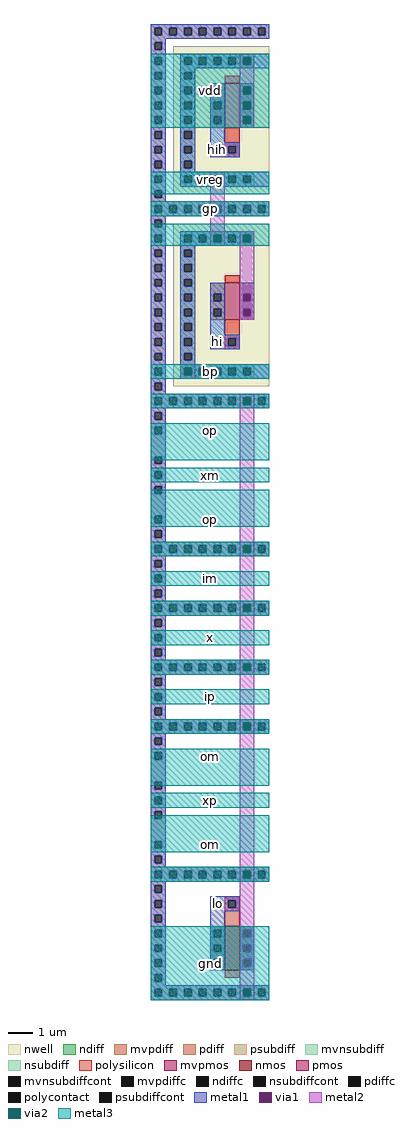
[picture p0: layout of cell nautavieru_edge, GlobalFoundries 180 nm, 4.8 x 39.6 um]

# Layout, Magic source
magic
tech gf180mcuC
<< nwell >>
rect -738 522 -660 642
rect -738 366 -660 498
<< nmos >>
rect -696 -108 -684 -72
<< pmos >>
rect -696 420 -684 450
<< mvpmos >>
rect -696 576 -684 612
<< ndiff >>
rect -708 -75 -696 -72
rect -708 -81 -705 -75
rect -699 -81 -696 -75
rect -708 -87 -696 -81
rect -708 -93 -705 -87
rect -699 -93 -696 -87
rect -708 -99 -696 -93
rect -708 -105 -705 -99
rect -699 -105 -696 -99
rect -708 -108 -696 -105
rect -684 -75 -672 -72
rect -684 -81 -681 -75
rect -675 -81 -672 -75
rect -684 -87 -672 -81
rect -684 -93 -681 -87
rect -675 -93 -672 -87
rect -684 -99 -672 -93
rect -684 -105 -681 -99
rect -675 -105 -672 -99
rect -684 -108 -672 -105
<< pdiff >>
rect -708 441 -696 450
rect -708 435 -705 441
rect -699 435 -696 441
rect -708 429 -696 435
rect -708 423 -705 429
rect -699 423 -696 429
rect -708 420 -696 423
rect -684 441 -672 450
rect -684 435 -681 441
rect -675 435 -672 441
rect -684 429 -672 435
rect -684 423 -681 429
rect -675 423 -672 429
rect -684 420 -672 423
<< mvpdiff >>
rect -708 609 -696 612
rect -708 603 -705 609
rect -699 603 -696 609
rect -708 597 -696 603
rect -708 591 -705 597
rect -699 591 -696 597
rect -708 585 -696 591
rect -708 579 -705 585
rect -699 579 -696 585
rect -708 576 -696 579
rect -684 609 -672 612
rect -684 603 -681 609
rect -675 603 -672 609
rect -684 597 -672 603
rect -684 591 -681 597
rect -675 591 -672 597
rect -684 585 -672 591
rect -684 579 -681 585
rect -675 579 -672 585
rect -684 576 -672 579
<< ndiffc >>
rect -705 -81 -699 -75
rect -705 -93 -699 -87
rect -705 -105 -699 -99
rect -681 -81 -675 -75
rect -681 -93 -675 -87
rect -681 -105 -675 -99
<< pdiffc >>
rect -705 435 -699 441
rect -705 423 -699 429
rect -681 435 -675 441
rect -681 423 -675 429
<< mvpdiffc >>
rect -705 603 -699 609
rect -705 591 -699 597
rect -705 579 -699 585
rect -681 603 -675 609
rect -681 591 -675 597
rect -681 579 -675 585
<< psubdiff >>
rect -756 657 -660 660
rect -756 651 -753 657
rect -747 651 -741 657
rect -735 651 -729 657
rect -723 651 -717 657
rect -711 651 -705 657
rect -699 651 -693 657
rect -687 651 -681 657
rect -675 651 -669 657
rect -663 651 -660 657
rect -756 648 -660 651
rect -756 645 -744 648
rect -756 639 -753 645
rect -747 639 -744 645
rect -756 633 -744 639
rect -756 627 -753 633
rect -747 627 -744 633
rect -756 621 -744 627
rect -756 615 -753 621
rect -747 615 -744 621
rect -756 609 -744 615
rect -756 603 -753 609
rect -747 603 -744 609
rect -756 597 -744 603
rect -756 591 -753 597
rect -747 591 -744 597
rect -756 585 -744 591
rect -756 579 -753 585
rect -747 579 -744 585
rect -756 573 -744 579
rect -756 567 -753 573
rect -747 567 -744 573
rect -756 561 -744 567
rect -756 555 -753 561
rect -747 555 -744 561
rect -756 549 -744 555
rect -756 543 -753 549
rect -747 543 -744 549
rect -756 537 -744 543
rect -756 531 -753 537
rect -747 531 -744 537
rect -756 525 -744 531
rect -756 519 -753 525
rect -747 519 -744 525
rect -756 516 -744 519
rect -756 513 -660 516
rect -756 507 -753 513
rect -747 507 -741 513
rect -735 507 -729 513
rect -723 507 -717 513
rect -711 507 -705 513
rect -699 507 -693 513
rect -687 507 -681 513
rect -675 507 -669 513
rect -663 507 -660 513
rect -756 504 -660 507
rect -756 501 -744 504
rect -756 495 -753 501
rect -747 495 -744 501
rect -756 489 -744 495
rect -756 483 -753 489
rect -747 483 -744 489
rect -756 477 -744 483
rect -756 471 -753 477
rect -747 471 -744 477
rect -756 465 -744 471
rect -756 459 -753 465
rect -747 459 -744 465
rect -756 453 -744 459
rect -756 447 -753 453
rect -747 447 -744 453
rect -756 441 -744 447
rect -756 435 -753 441
rect -747 435 -744 441
rect -756 429 -744 435
rect -756 423 -753 429
rect -747 423 -744 429
rect -756 417 -744 423
rect -756 411 -753 417
rect -747 411 -744 417
rect -756 405 -744 411
rect -756 399 -753 405
rect -747 399 -744 405
rect -756 393 -744 399
rect -756 387 -753 393
rect -747 387 -744 393
rect -756 381 -744 387
rect -756 375 -753 381
rect -747 375 -744 381
rect -756 369 -744 375
rect -756 363 -753 369
rect -747 363 -744 369
rect -756 360 -744 363
rect -756 357 -660 360
rect -756 351 -753 357
rect -747 351 -741 357
rect -735 351 -729 357
rect -723 351 -717 357
rect -711 351 -705 357
rect -699 351 -693 357
rect -687 351 -681 357
rect -675 351 -669 357
rect -663 351 -660 357
rect -756 348 -660 351
rect -756 345 -744 348
rect -756 339 -753 345
rect -747 339 -744 345
rect -756 333 -744 339
rect -756 327 -753 333
rect -747 327 -744 333
rect -756 309 -744 327
rect -756 303 -753 309
rect -747 303 -744 309
rect -756 297 -744 303
rect -756 291 -753 297
rect -747 291 -744 297
rect -756 285 -744 291
rect -756 279 -753 285
rect -747 279 -744 285
rect -756 261 -744 279
rect -756 255 -753 261
rect -747 255 -744 261
rect -756 249 -744 255
rect -756 243 -753 249
rect -747 243 -744 249
rect -756 240 -744 243
rect -756 237 -660 240
rect -756 231 -753 237
rect -747 231 -741 237
rect -735 231 -729 237
rect -723 231 -717 237
rect -711 231 -705 237
rect -699 231 -693 237
rect -687 231 -681 237
rect -675 231 -669 237
rect -663 231 -660 237
rect -756 228 -660 231
rect -756 225 -744 228
rect -756 219 -753 225
rect -747 219 -744 225
rect -756 213 -744 219
rect -756 207 -753 213
rect -747 207 -744 213
rect -756 201 -744 207
rect -756 195 -753 201
rect -747 195 -744 201
rect -756 192 -744 195
rect -756 189 -660 192
rect -756 183 -753 189
rect -747 183 -741 189
rect -735 183 -729 189
rect -723 183 -717 189
rect -711 183 -705 189
rect -699 183 -693 189
rect -687 183 -681 189
rect -675 183 -669 189
rect -663 183 -660 189
rect -756 180 -660 183
rect -756 177 -744 180
rect -756 171 -753 177
rect -747 171 -744 177
rect -756 165 -744 171
rect -756 159 -753 165
rect -747 159 -744 165
rect -756 153 -744 159
rect -756 147 -753 153
rect -747 147 -744 153
rect -756 144 -744 147
rect -756 141 -660 144
rect -756 135 -753 141
rect -747 135 -741 141
rect -735 135 -729 141
rect -723 135 -717 141
rect -711 135 -705 141
rect -699 135 -693 141
rect -687 135 -681 141
rect -675 135 -669 141
rect -663 135 -660 141
rect -756 132 -660 135
rect -756 129 -744 132
rect -756 123 -753 129
rect -747 123 -744 129
rect -756 117 -744 123
rect -756 111 -753 117
rect -747 111 -744 117
rect -756 105 -744 111
rect -756 99 -753 105
rect -747 99 -744 105
rect -756 96 -744 99
rect -756 93 -660 96
rect -756 87 -753 93
rect -747 87 -741 93
rect -735 87 -729 93
rect -723 87 -717 93
rect -711 87 -705 93
rect -699 87 -693 93
rect -687 87 -681 93
rect -675 87 -669 93
rect -663 87 -660 93
rect -756 84 -660 87
rect -756 81 -744 84
rect -756 75 -753 81
rect -747 75 -744 81
rect -756 69 -744 75
rect -756 63 -753 69
rect -747 63 -744 69
rect -756 45 -744 63
rect -756 39 -753 45
rect -747 39 -744 45
rect -756 33 -744 39
rect -756 27 -753 33
rect -747 27 -744 33
rect -756 21 -744 27
rect -756 15 -753 21
rect -747 15 -744 21
rect -756 -3 -744 15
rect -756 -9 -753 -3
rect -747 -9 -744 -3
rect -756 -15 -744 -9
rect -756 -21 -753 -15
rect -747 -21 -744 -15
rect -756 -24 -744 -21
rect -756 -27 -660 -24
rect -756 -33 -753 -27
rect -747 -33 -741 -27
rect -735 -33 -729 -27
rect -723 -33 -717 -27
rect -711 -33 -705 -27
rect -699 -33 -693 -27
rect -687 -33 -681 -27
rect -675 -33 -669 -27
rect -663 -33 -660 -27
rect -756 -36 -660 -33
rect -756 -39 -744 -36
rect -756 -45 -753 -39
rect -747 -45 -744 -39
rect -756 -51 -744 -45
rect -756 -57 -753 -51
rect -747 -57 -744 -51
rect -756 -63 -744 -57
rect -756 -69 -753 -63
rect -747 -69 -744 -63
rect -756 -75 -744 -69
rect -756 -81 -753 -75
rect -747 -81 -744 -75
rect -756 -87 -744 -81
rect -756 -93 -753 -87
rect -747 -93 -744 -87
rect -756 -99 -744 -93
rect -756 -105 -753 -99
rect -747 -105 -744 -99
rect -756 -111 -744 -105
rect -756 -117 -753 -111
rect -747 -117 -744 -111
rect -756 -120 -744 -117
rect -756 -123 -660 -120
rect -756 -129 -753 -123
rect -747 -129 -741 -123
rect -735 -129 -729 -123
rect -723 -129 -717 -123
rect -711 -129 -705 -123
rect -699 -129 -693 -123
rect -687 -129 -681 -123
rect -675 -129 -669 -123
rect -663 -129 -660 -123
rect -756 -132 -660 -129
<< nsubdiff >>
rect -732 489 -672 492
rect -732 483 -729 489
rect -723 483 -717 489
rect -711 483 -705 489
rect -699 483 -693 489
rect -687 483 -681 489
rect -675 483 -672 489
rect -732 480 -672 483
rect -732 477 -720 480
rect -732 471 -729 477
rect -723 471 -720 477
rect -732 465 -720 471
rect -732 459 -729 465
rect -723 459 -720 465
rect -732 453 -720 459
rect -732 447 -729 453
rect -723 447 -720 453
rect -732 441 -720 447
rect -732 435 -729 441
rect -723 435 -720 441
rect -732 429 -720 435
rect -732 423 -729 429
rect -723 423 -720 429
rect -732 417 -720 423
rect -732 411 -729 417
rect -723 411 -720 417
rect -732 405 -720 411
rect -732 399 -729 405
rect -723 399 -720 405
rect -732 393 -720 399
rect -732 387 -729 393
rect -723 387 -720 393
rect -732 384 -720 387
rect -732 381 -672 384
rect -732 375 -729 381
rect -723 375 -717 381
rect -711 375 -705 381
rect -699 375 -693 381
rect -687 375 -681 381
rect -675 375 -672 381
rect -732 372 -672 375
<< mvnsubdiff >>
rect -732 633 -672 636
rect -732 627 -729 633
rect -723 627 -717 633
rect -711 627 -705 633
rect -699 627 -693 633
rect -687 627 -681 633
rect -675 627 -672 633
rect -732 624 -672 627
rect -732 621 -720 624
rect -732 615 -729 621
rect -723 615 -720 621
rect -732 609 -720 615
rect -732 603 -729 609
rect -723 603 -720 609
rect -732 597 -720 603
rect -732 591 -729 597
rect -723 591 -720 597
rect -732 585 -720 591
rect -732 579 -729 585
rect -723 579 -720 585
rect -732 573 -720 579
rect -732 567 -729 573
rect -723 567 -720 573
rect -732 561 -720 567
rect -732 555 -729 561
rect -723 555 -720 561
rect -732 549 -720 555
rect -732 543 -729 549
rect -723 543 -720 549
rect -732 540 -720 543
rect -732 537 -672 540
rect -732 531 -729 537
rect -723 531 -717 537
rect -711 531 -705 537
rect -699 531 -693 537
rect -687 531 -681 537
rect -675 531 -672 537
rect -732 528 -672 531
<< psubdiffcont >>
rect -753 651 -747 657
rect -741 651 -735 657
rect -729 651 -723 657
rect -717 651 -711 657
rect -705 651 -699 657
rect -693 651 -687 657
rect -681 651 -675 657
rect -669 651 -663 657
rect -753 639 -747 645
rect -753 627 -747 633
rect -753 615 -747 621
rect -753 603 -747 609
rect -753 591 -747 597
rect -753 579 -747 585
rect -753 567 -747 573
rect -753 555 -747 561
rect -753 543 -747 549
rect -753 531 -747 537
rect -753 519 -747 525
rect -753 507 -747 513
rect -741 507 -735 513
rect -729 507 -723 513
rect -717 507 -711 513
rect -705 507 -699 513
rect -693 507 -687 513
rect -681 507 -675 513
rect -669 507 -663 513
rect -753 495 -747 501
rect -753 483 -747 489
rect -753 471 -747 477
rect -753 459 -747 465
rect -753 447 -747 453
rect -753 435 -747 441
rect -753 423 -747 429
rect -753 411 -747 417
rect -753 399 -747 405
rect -753 387 -747 393
rect -753 375 -747 381
rect -753 363 -747 369
rect -753 351 -747 357
rect -741 351 -735 357
rect -729 351 -723 357
rect -717 351 -711 357
rect -705 351 -699 357
rect -693 351 -687 357
rect -681 351 -675 357
rect -669 351 -663 357
rect -753 339 -747 345
rect -753 327 -747 333
rect -753 303 -747 309
rect -753 291 -747 297
rect -753 279 -747 285
rect -753 255 -747 261
rect -753 243 -747 249
rect -753 231 -747 237
rect -741 231 -735 237
rect -729 231 -723 237
rect -717 231 -711 237
rect -705 231 -699 237
rect -693 231 -687 237
rect -681 231 -675 237
rect -669 231 -663 237
rect -753 219 -747 225
rect -753 207 -747 213
rect -753 195 -747 201
rect -753 183 -747 189
rect -741 183 -735 189
rect -729 183 -723 189
rect -717 183 -711 189
rect -705 183 -699 189
rect -693 183 -687 189
rect -681 183 -675 189
rect -669 183 -663 189
rect -753 171 -747 177
rect -753 159 -747 165
rect -753 147 -747 153
rect -753 135 -747 141
rect -741 135 -735 141
rect -729 135 -723 141
rect -717 135 -711 141
rect -705 135 -699 141
rect -693 135 -687 141
rect -681 135 -675 141
rect -669 135 -663 141
rect -753 123 -747 129
rect -753 111 -747 117
rect -753 99 -747 105
rect -753 87 -747 93
rect -741 87 -735 93
rect -729 87 -723 93
rect -717 87 -711 93
rect -705 87 -699 93
rect -693 87 -687 93
rect -681 87 -675 93
rect -669 87 -663 93
rect -753 75 -747 81
rect -753 63 -747 69
rect -753 39 -747 45
rect -753 27 -747 33
rect -753 15 -747 21
rect -753 -9 -747 -3
rect -753 -21 -747 -15
rect -753 -33 -747 -27
rect -741 -33 -735 -27
rect -729 -33 -723 -27
rect -717 -33 -711 -27
rect -705 -33 -699 -27
rect -693 -33 -687 -27
rect -681 -33 -675 -27
rect -669 -33 -663 -27
rect -753 -45 -747 -39
rect -753 -57 -747 -51
rect -753 -69 -747 -63
rect -753 -81 -747 -75
rect -753 -93 -747 -87
rect -753 -105 -747 -99
rect -753 -117 -747 -111
rect -753 -129 -747 -123
rect -741 -129 -735 -123
rect -729 -129 -723 -123
rect -717 -129 -711 -123
rect -705 -129 -699 -123
rect -693 -129 -687 -123
rect -681 -129 -675 -123
rect -669 -129 -663 -123
<< nsubdiffcont >>
rect -729 483 -723 489
rect -717 483 -711 489
rect -705 483 -699 489
rect -693 483 -687 489
rect -681 483 -675 489
rect -729 471 -723 477
rect -729 459 -723 465
rect -729 447 -723 453
rect -729 435 -723 441
rect -729 423 -723 429
rect -729 411 -723 417
rect -729 399 -723 405
rect -729 387 -723 393
rect -729 375 -723 381
rect -717 375 -711 381
rect -705 375 -699 381
rect -693 375 -687 381
rect -681 375 -675 381
<< mvnsubdiffcont >>
rect -729 627 -723 633
rect -717 627 -711 633
rect -705 627 -699 633
rect -693 627 -687 633
rect -681 627 -675 633
rect -729 615 -723 621
rect -729 603 -723 609
rect -729 591 -723 597
rect -729 579 -723 585
rect -729 567 -723 573
rect -729 555 -723 561
rect -729 543 -723 549
rect -729 531 -723 537
rect -717 531 -711 537
rect -705 531 -699 537
rect -693 531 -687 537
rect -681 531 -675 537
<< polysilicon >>
rect -696 612 -684 618
rect -696 561 -684 576
rect -696 555 -693 561
rect -687 555 -684 561
rect -696 552 -684 555
rect -696 450 -684 456
rect -696 405 -684 420
rect -696 399 -693 405
rect -687 399 -684 405
rect -696 396 -684 399
rect -696 -51 -684 -48
rect -696 -57 -693 -51
rect -687 -57 -684 -51
rect -696 -72 -684 -57
rect -696 -114 -684 -108
<< polycontact >>
rect -693 555 -687 561
rect -693 399 -687 405
rect -693 -57 -687 -51
<< metal1 >>
rect -756 657 -660 660
rect -756 651 -753 657
rect -747 651 -741 657
rect -735 651 -729 657
rect -723 651 -717 657
rect -711 651 -705 657
rect -699 651 -693 657
rect -687 651 -681 657
rect -675 651 -669 657
rect -663 651 -660 657
rect -756 648 -660 651
rect -756 645 -744 648
rect -756 639 -753 645
rect -747 639 -744 645
rect -756 633 -744 639
rect -756 627 -753 633
rect -747 627 -744 633
rect -756 621 -744 627
rect -756 615 -753 621
rect -747 615 -744 621
rect -756 609 -744 615
rect -756 603 -753 609
rect -747 603 -744 609
rect -756 597 -744 603
rect -756 591 -753 597
rect -747 591 -744 597
rect -756 585 -744 591
rect -756 579 -753 585
rect -747 579 -744 585
rect -756 573 -744 579
rect -756 567 -753 573
rect -747 567 -744 573
rect -756 561 -744 567
rect -756 555 -753 561
rect -747 555 -744 561
rect -756 549 -744 555
rect -756 543 -753 549
rect -747 543 -744 549
rect -756 537 -744 543
rect -756 531 -753 537
rect -747 531 -744 537
rect -756 525 -744 531
rect -732 633 -660 636
rect -732 627 -729 633
rect -723 627 -717 633
rect -711 627 -705 633
rect -699 627 -693 633
rect -687 627 -681 633
rect -675 627 -660 633
rect -732 624 -660 627
rect -732 621 -720 624
rect -732 615 -729 621
rect -723 615 -720 621
rect -732 609 -720 615
rect -732 603 -729 609
rect -723 603 -720 609
rect -732 597 -720 603
rect -732 591 -729 597
rect -723 591 -720 597
rect -732 585 -720 591
rect -732 579 -729 585
rect -723 579 -720 585
rect -732 573 -720 579
rect -732 567 -729 573
rect -723 567 -720 573
rect -732 561 -720 567
rect -732 555 -729 561
rect -723 555 -720 561
rect -732 549 -720 555
rect -708 609 -696 612
rect -708 603 -705 609
rect -699 603 -696 609
rect -708 597 -696 603
rect -708 591 -705 597
rect -699 591 -696 597
rect -708 585 -696 591
rect -708 579 -705 585
rect -699 579 -696 585
rect -708 564 -696 579
rect -684 609 -672 612
rect -684 603 -681 609
rect -675 603 -672 609
rect -684 597 -672 603
rect -684 591 -681 597
rect -675 591 -672 597
rect -684 585 -672 591
rect -684 579 -681 585
rect -675 579 -672 585
rect -684 576 -672 579
rect -708 561 -684 564
rect -708 555 -693 561
rect -687 555 -684 561
rect -708 552 -684 555
rect -732 543 -729 549
rect -723 543 -720 549
rect -732 540 -720 543
rect -732 537 -660 540
rect -732 531 -729 537
rect -723 531 -717 537
rect -711 531 -705 537
rect -699 531 -693 537
rect -687 531 -681 537
rect -675 531 -660 537
rect -732 528 -660 531
rect -756 519 -753 525
rect -747 519 -744 525
rect -756 516 -744 519
rect -756 513 -660 516
rect -756 507 -753 513
rect -747 507 -741 513
rect -735 507 -729 513
rect -723 507 -717 513
rect -711 507 -705 513
rect -699 507 -693 513
rect -687 507 -681 513
rect -675 507 -669 513
rect -663 507 -660 513
rect -756 504 -660 507
rect -756 501 -744 504
rect -756 495 -753 501
rect -747 495 -744 501
rect -756 489 -744 495
rect -756 483 -753 489
rect -747 483 -744 489
rect -756 477 -744 483
rect -756 471 -753 477
rect -747 471 -744 477
rect -756 465 -744 471
rect -756 459 -753 465
rect -747 459 -744 465
rect -756 453 -744 459
rect -756 447 -753 453
rect -747 447 -744 453
rect -756 441 -744 447
rect -756 435 -753 441
rect -747 435 -744 441
rect -756 429 -744 435
rect -756 423 -753 429
rect -747 423 -744 429
rect -756 417 -744 423
rect -756 411 -753 417
rect -747 411 -744 417
rect -756 405 -744 411
rect -756 399 -753 405
rect -747 399 -744 405
rect -756 393 -744 399
rect -756 387 -753 393
rect -747 387 -744 393
rect -756 381 -744 387
rect -756 375 -753 381
rect -747 375 -744 381
rect -756 369 -744 375
rect -732 489 -672 492
rect -732 483 -729 489
rect -723 483 -717 489
rect -711 483 -705 489
rect -699 483 -693 489
rect -687 483 -681 489
rect -675 483 -672 489
rect -732 480 -672 483
rect -732 477 -720 480
rect -732 471 -729 477
rect -723 471 -720 477
rect -732 465 -720 471
rect -732 459 -729 465
rect -723 459 -720 465
rect -732 453 -720 459
rect -732 447 -729 453
rect -723 447 -720 453
rect -732 441 -720 447
rect -732 435 -729 441
rect -723 435 -720 441
rect -732 429 -720 435
rect -732 423 -729 429
rect -723 423 -720 429
rect -732 417 -720 423
rect -732 411 -729 417
rect -723 411 -720 417
rect -732 405 -720 411
rect -732 399 -729 405
rect -723 399 -720 405
rect -732 393 -720 399
rect -708 441 -696 450
rect -708 435 -705 441
rect -699 435 -696 441
rect -708 429 -696 435
rect -708 423 -705 429
rect -699 423 -696 429
rect -708 408 -696 423
rect -684 441 -672 450
rect -684 435 -681 441
rect -675 435 -672 441
rect -684 429 -672 435
rect -684 423 -681 429
rect -675 423 -672 429
rect -684 420 -672 423
rect -708 405 -684 408
rect -708 399 -693 405
rect -687 399 -684 405
rect -708 396 -684 399
rect -732 387 -729 393
rect -723 387 -720 393
rect -732 384 -720 387
rect -732 381 -660 384
rect -732 375 -729 381
rect -723 375 -717 381
rect -711 375 -705 381
rect -699 375 -693 381
rect -687 375 -681 381
rect -675 375 -660 381
rect -732 372 -660 375
rect -756 363 -753 369
rect -747 363 -744 369
rect -756 360 -744 363
rect -756 357 -660 360
rect -756 351 -753 357
rect -747 351 -741 357
rect -735 351 -729 357
rect -723 351 -717 357
rect -711 351 -705 357
rect -699 351 -693 357
rect -687 351 -681 357
rect -675 351 -669 357
rect -663 351 -660 357
rect -756 348 -660 351
rect -756 345 -744 348
rect -756 339 -753 345
rect -747 339 -744 345
rect -756 333 -744 339
rect -756 327 -753 333
rect -747 327 -744 333
rect -756 309 -744 327
rect -756 303 -753 309
rect -747 303 -744 309
rect -756 297 -744 303
rect -756 291 -753 297
rect -747 291 -744 297
rect -756 285 -744 291
rect -756 279 -753 285
rect -747 279 -744 285
rect -756 261 -744 279
rect -756 255 -753 261
rect -747 255 -744 261
rect -756 249 -744 255
rect -756 243 -753 249
rect -747 243 -744 249
rect -756 240 -744 243
rect -756 237 -660 240
rect -756 231 -753 237
rect -747 231 -741 237
rect -735 231 -729 237
rect -723 231 -717 237
rect -711 231 -705 237
rect -699 231 -693 237
rect -687 231 -681 237
rect -675 231 -669 237
rect -663 231 -660 237
rect -756 228 -660 231
rect -756 225 -744 228
rect -756 219 -753 225
rect -747 219 -744 225
rect -756 213 -744 219
rect -756 207 -753 213
rect -747 207 -744 213
rect -756 201 -744 207
rect -756 195 -753 201
rect -747 195 -744 201
rect -756 192 -744 195
rect -756 189 -660 192
rect -756 183 -753 189
rect -747 183 -741 189
rect -735 183 -729 189
rect -723 183 -717 189
rect -711 183 -705 189
rect -699 183 -693 189
rect -687 183 -681 189
rect -675 183 -669 189
rect -663 183 -660 189
rect -756 180 -660 183
rect -756 177 -744 180
rect -756 171 -753 177
rect -747 171 -744 177
rect -756 165 -744 171
rect -756 159 -753 165
rect -747 159 -744 165
rect -756 153 -744 159
rect -756 147 -753 153
rect -747 147 -744 153
rect -756 144 -744 147
rect -756 141 -660 144
rect -756 135 -753 141
rect -747 135 -741 141
rect -735 135 -729 141
rect -723 135 -717 141
rect -711 135 -705 141
rect -699 135 -693 141
rect -687 135 -681 141
rect -675 135 -669 141
rect -663 135 -660 141
rect -756 132 -660 135
rect -756 129 -744 132
rect -756 123 -753 129
rect -747 123 -744 129
rect -756 117 -744 123
rect -756 111 -753 117
rect -747 111 -744 117
rect -756 105 -744 111
rect -756 99 -753 105
rect -747 99 -744 105
rect -756 96 -744 99
rect -756 93 -660 96
rect -756 87 -753 93
rect -747 87 -741 93
rect -735 87 -729 93
rect -723 87 -717 93
rect -711 87 -705 93
rect -699 87 -693 93
rect -687 87 -681 93
rect -675 87 -669 93
rect -663 87 -660 93
rect -756 84 -660 87
rect -756 81 -744 84
rect -756 75 -753 81
rect -747 75 -744 81
rect -756 69 -744 75
rect -756 63 -753 69
rect -747 63 -744 69
rect -756 45 -744 63
rect -756 39 -753 45
rect -747 39 -744 45
rect -756 33 -744 39
rect -756 27 -753 33
rect -747 27 -744 33
rect -756 21 -744 27
rect -756 15 -753 21
rect -747 15 -744 21
rect -756 -3 -744 15
rect -756 -9 -753 -3
rect -747 -9 -744 -3
rect -756 -15 -744 -9
rect -756 -21 -753 -15
rect -747 -21 -744 -15
rect -756 -24 -744 -21
rect -756 -27 -660 -24
rect -756 -33 -753 -27
rect -747 -33 -741 -27
rect -735 -33 -729 -27
rect -723 -33 -717 -27
rect -711 -33 -705 -27
rect -699 -33 -693 -27
rect -687 -33 -681 -27
rect -675 -33 -669 -27
rect -663 -33 -660 -27
rect -756 -36 -660 -33
rect -756 -39 -744 -36
rect -756 -45 -753 -39
rect -747 -45 -744 -39
rect -756 -51 -744 -45
rect -756 -57 -753 -51
rect -747 -57 -744 -51
rect -756 -63 -744 -57
rect -756 -69 -753 -63
rect -747 -69 -744 -63
rect -756 -75 -744 -69
rect -756 -81 -753 -75
rect -747 -81 -744 -75
rect -756 -87 -744 -81
rect -756 -93 -753 -87
rect -747 -93 -744 -87
rect -756 -99 -744 -93
rect -756 -105 -753 -99
rect -747 -105 -744 -99
rect -756 -111 -744 -105
rect -708 -51 -684 -48
rect -708 -57 -693 -51
rect -687 -57 -684 -51
rect -708 -60 -684 -57
rect -708 -75 -696 -60
rect -708 -81 -705 -75
rect -699 -81 -696 -75
rect -708 -87 -696 -81
rect -708 -93 -705 -87
rect -699 -93 -696 -87
rect -708 -99 -696 -93
rect -708 -105 -705 -99
rect -699 -105 -696 -99
rect -708 -108 -696 -105
rect -684 -75 -672 -72
rect -684 -81 -681 -75
rect -675 -81 -672 -75
rect -684 -87 -672 -81
rect -684 -93 -681 -87
rect -675 -93 -672 -87
rect -684 -99 -672 -93
rect -684 -105 -681 -99
rect -675 -105 -672 -99
rect -684 -108 -672 -105
rect -756 -117 -753 -111
rect -747 -117 -744 -111
rect -756 -120 -744 -117
rect -756 -123 -660 -120
rect -756 -129 -753 -123
rect -747 -129 -741 -123
rect -735 -129 -729 -123
rect -723 -129 -717 -123
rect -711 -129 -705 -123
rect -699 -129 -693 -123
rect -687 -129 -681 -123
rect -675 -129 -669 -123
rect -663 -129 -660 -123
rect -756 -132 -660 -129
<< via1 >>
rect -681 627 -675 633
rect -681 603 -675 609
rect -681 591 -675 597
rect -681 579 -675 585
rect -681 435 -675 441
rect -681 423 -675 429
rect -729 375 -723 381
rect -681 351 -675 357
rect -681 231 -675 237
rect -681 183 -675 189
rect -681 135 -675 141
rect -681 87 -675 93
rect -681 -33 -675 -27
rect -681 -81 -675 -75
rect -681 -93 -675 -87
rect -681 -105 -675 -99
rect -681 -129 -675 -123
<< metal2 >>
rect -684 633 -672 636
rect -684 627 -681 633
rect -675 627 -672 633
rect -684 609 -672 627
rect -684 603 -681 609
rect -675 603 -672 609
rect -684 597 -672 603
rect -684 591 -681 597
rect -675 591 -672 597
rect -684 585 -672 591
rect -684 579 -681 585
rect -675 579 -672 585
rect -684 576 -672 579
rect -708 537 -696 540
rect -708 531 -705 537
rect -699 531 -696 537
rect -708 489 -696 531
rect -708 483 -705 489
rect -699 483 -696 489
rect -708 480 -696 483
rect -684 489 -672 492
rect -684 483 -681 489
rect -675 483 -672 489
rect -684 441 -672 483
rect -684 435 -681 441
rect -675 435 -672 441
rect -684 429 -672 435
rect -684 423 -681 429
rect -675 423 -672 429
rect -684 420 -672 423
rect -732 381 -720 384
rect -732 375 -729 381
rect -723 375 -720 381
rect -732 372 -720 375
rect -684 357 -672 360
rect -684 351 -681 357
rect -675 351 -672 357
rect -684 237 -672 351
rect -684 231 -681 237
rect -675 231 -672 237
rect -684 189 -672 231
rect -684 183 -681 189
rect -675 183 -672 189
rect -684 141 -672 183
rect -684 135 -681 141
rect -675 135 -672 141
rect -684 93 -672 135
rect -684 87 -681 93
rect -675 87 -672 93
rect -684 -27 -672 87
rect -684 -33 -681 -27
rect -675 -33 -672 -27
rect -684 -75 -672 -33
rect -684 -81 -681 -75
rect -675 -81 -672 -75
rect -684 -87 -672 -81
rect -684 -93 -681 -87
rect -675 -93 -672 -87
rect -684 -99 -672 -93
rect -684 -105 -681 -99
rect -675 -105 -672 -99
rect -684 -123 -672 -105
rect -684 -129 -681 -123
rect -675 -129 -672 -123
rect -684 -132 -672 -129
<< via2 >>
rect -681 627 -675 633
rect -681 603 -675 609
rect -681 591 -675 597
rect -681 579 -675 585
rect -705 531 -699 537
rect -705 483 -699 489
rect -681 483 -675 489
rect -729 375 -723 381
rect -681 351 -675 357
rect -681 231 -675 237
rect -681 183 -675 189
rect -681 135 -675 141
rect -681 87 -675 93
rect -681 -33 -675 -27
rect -681 -129 -675 -123
<< metal3 >>
rect -756 633 -660 636
rect -756 627 -681 633
rect -675 627 -660 633
rect -756 609 -660 627
rect -756 603 -681 609
rect -675 603 -660 609
rect -756 597 -660 603
rect -756 591 -681 597
rect -675 591 -660 597
rect -756 585 -660 591
rect -756 579 -681 585
rect -675 579 -660 585
rect -756 576 -660 579
rect -756 537 -660 540
rect -756 531 -705 537
rect -699 531 -660 537
rect -756 522 -660 531
rect -756 504 -660 516
rect -756 489 -660 498
rect -756 483 -705 489
rect -699 483 -681 489
rect -675 483 -660 489
rect -756 480 -660 483
rect -756 381 -660 384
rect -756 375 -729 381
rect -723 375 -660 381
rect -756 372 -660 375
rect -756 357 -660 360
rect -756 351 -681 357
rect -675 351 -660 357
rect -756 348 -660 351
rect -756 306 -660 336
rect -756 288 -660 300
rect -756 252 -660 282
rect -756 237 -660 240
rect -756 231 -681 237
rect -675 231 -660 237
rect -756 228 -660 231
rect -756 204 -660 216
rect -756 189 -660 192
rect -756 183 -681 189
rect -675 183 -660 189
rect -756 180 -660 183
rect -756 156 -660 168
rect -756 141 -660 144
rect -756 135 -681 141
rect -675 135 -660 141
rect -756 132 -660 135
rect -756 108 -660 120
rect -756 93 -660 96
rect -756 87 -681 93
rect -675 87 -660 93
rect -756 84 -660 87
rect -756 42 -660 72
rect -756 24 -660 36
rect -756 -12 -660 18
rect -756 -27 -660 -24
rect -756 -33 -681 -27
rect -675 -33 -660 -27
rect -756 -36 -660 -33
rect -756 -123 -660 -72
rect -756 -129 -681 -123
rect -675 -129 -660 -123
rect -756 -132 -660 -129
<< labels >>
rlabel metal3 -756 -132 -660 -72 0 gnd
port 9 nsew
rlabel metal1 -708 -60 -696 -48 0 lo
rlabel metal3 -756 -12 -660 0 0 om
port 13 nsew
rlabel metal3 -756 24 -660 36 0 xp
port 12 nsew
rlabel metal3 -756 108 -660 120 0 ip
port 7 nsew
rlabel metal3 -756 60 -660 72 0 om
port 13 nsew
rlabel metal3 -756 204 -660 216 0 im
port 6 nsew
rlabel metal3 -756 288 -660 300 0 xm
port 10 nsew
rlabel metal3 -756 324 -660 336 0 op
port 11 nsew
rlabel metal1 -708 396 -696 408 0 hi
rlabel metal1 -708 552 -696 564 1 hih
rlabel metal3 -756 528 -660 540 0 vreg
port 4 nsew
rlabel metal3 -756 372 -660 384 0 bp
port 3 nsew
rlabel metal3 -756 504 -660 516 0 gp
port 2 nsew
rlabel metal3 -756 576 -660 636 0 vdd
port 1 nsew
rlabel metal3 -756 252 -660 264 0 op
port 11 nsew
rlabel metal3 -756 156 -660 168 0 x
port 14 nsew
<< end >>
